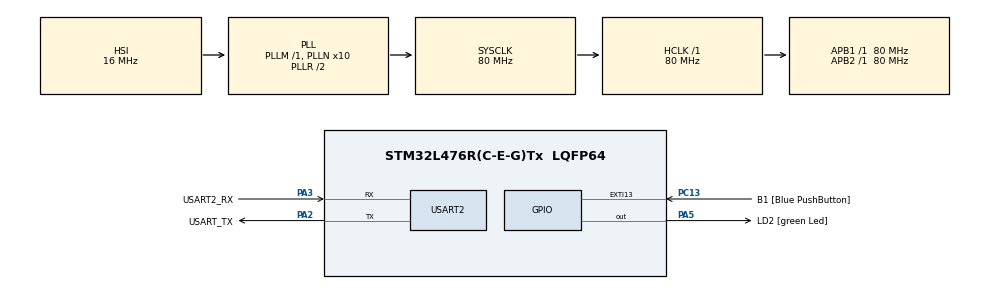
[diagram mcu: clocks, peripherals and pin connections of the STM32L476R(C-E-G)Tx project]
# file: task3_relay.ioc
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Mcu.Family=STM32L4
Mcu.Name=STM32L476R(C-E-G)Tx
Mcu.Package=LQFP64
NVIC.EXTI15_10_IRQn=true\:3\:0\:true\:false\:true\:true\:true
NVIC.PriorityGroup=NVIC_PRIORITYGROUP_4
PA13\ (JTMS-SWDIO).GPIO_Label=TMS
PA13\ (JTMS-SWDIO).Mode=Serial_Wire
PA13\ (JTMS-SWDIO).Signal=SYS_JTMS-SWDIO
PA14\ (JTCK-SWCLK).GPIO_Label=TCK
PA14\ (JTCK-SWCLK).Mode=Serial_Wire
PA14\ (JTCK-SWCLK).Signal=SYS_JTCK-SWCLK
PA2.GPIO_Label=USART_TX
PA2.GPIO_Mode=GPIO_MODE_AF_PP
PA2.GPIO_PuPd=GPIO_NOPULL
PA2.GPIO_Speed=GPIO_SPEED_FREQ_VERY_HIGH
PA2.Mode=Asynchronous
PA2.Signal=USART2_TX
PA3.GPIO_Label=USART2_RX
PA3.GPIO_Mode=GPIO_MODE_AF_PP
PA3.GPIO_PuPd=GPIO_NOPULL
PA3.GPIO_Speed=GPIO_SPEED_FREQ_VERY_HIGH
PA3.Mode=Asynchronous
PA3.Signal=USART2_RX
PA5.GPIO_Label=LD2 [green Led]
PA5.GPIO_ModeDefaultOutputPP=GPIO_MODE_OUTPUT_PP
PA5.GPIO_PuPd=GPIO_NOPULL
PA5.GPIO_Speed=GPIO_SPEED_FREQ_LOW
PA5.Signal=GPIO_Output
PB3\ (JTDO-TRACESWO).GPIO_Label=SWO
PB3\ (JTDO-TRACESWO).Signal=SYS_JTDO-SWO
PC13.GPIO_Label=B1 [Blue PushButton]
PC13.GPIO_ModeDefaultEXTI=GPIO_MODE_IT_FALLING
PC13.GPIO_PuPd=GPIO_NOPULL
PC13.Signal=GPXTI13
PC14-OSC32_IN\ (PC14).Mode=LSE-External-Oscillator
PC14-OSC32_IN\ (PC14).Signal=RCC_OSC32_IN
PC15-OSC32_OUT\ (PC15).Mode=LSE-External-Oscillator
PC15-OSC32_OUT\ (PC15).Signal=RCC_OSC32_OUT
PH0-OSC_IN\ (PH0).Signal=RCC_OSC_IN
PH1-OSC_OUT\ (PH1).Signal=RCC_OSC_OUT
ProjectManager.HeapSize=0x200
ProjectManager.StackSize=0x400
ProjectManager.TargetToolchain=MDK-ARM V5.27
RCC.ADCFreq_Value=64000000
RCC.AHBFreq_Value=80000000
RCC.APB1Freq_Value=80000000
RCC.APB1TimFreq_Value=80000000
RCC.APB2Freq_Value=80000000
RCC.APB2TimFreq_Value=80000000
RCC.CortexFreq_Value=10000000
RCC.Cortex_Div=SYSTICK_CLKSOURCE_HCLK_DIV8
RCC.HCLKFreq_Value=80000000
RCC.HSE_VALUE=8000000
RCC.HSI_VALUE=16000000
RCC.MSI_VALUE=4000000
RCC.PLLN=10
RCC.PLLSourceVirtual=RCC_PLLSOURCE_HSI
RCC.PREFETCH_ENABLE=1
RCC.SYSCLKFreq_VALUE=80000000
RCC.SYSCLKSource=RCC_SYSCLKSOURCE_PLLCLK
RCC.USBFreq_Value=64000000
RCC.VCOOutputFreq_Value=160000000
USART2.VirtualMode-Asynchronous=VM_ASYNC
board=NUCLEO-L476RG

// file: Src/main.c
/* USER CODE BEGIN Header */
/**
  ******************************************************************************
  * @file           : main.c
  * @brief          : Main program body
  ******************************************************************************
  * @attention
  *
  * <h2><center>&copy; Copyright (c) 2020 STMicroelectronics.
  * All rights reserved.</center></h2>
  *
  * This software component is licensed by ST under BSD 3-Clause license,
  * the "License"; You may not use this file except in compliance with the
  * License. You may obtain a copy of the License at:
  *                        opensource.org/licenses/BSD-3-Clause
  *
  ******************************************************************************
  */
/* USER CODE END Header */

#include "main.h"
#include "usart.h"
#include "gpio.h"

/* USER CODE BEGIN Includes */
#include <math.h>
#include <stdbool.h>
#define pi 3.1415926

double brightness = 0.0;
bool pwm_en_flag = false;
uint8_t count = 0;
uint8_t pwm_speed = 25;		//定义pwm信号变化速度
/* USER CODE END Includes */

void SystemClock_Config(void);

int main(void)
{

  /* MCU Configuration--------------------------------------------------------*/

  /* Reset of all peripherals, Initializes the Flash interface and the Systick. */
  HAL_Init();

  /* Configure the system clock */
  SystemClock_Config();

  /* Initialize all configured peripherals */
  MX_GPIO_Init();
  MX_USART2_UART_Init();

  /* Infinite loop */
  while (1)
  {

    /* USER CODE BEGIN 3 */
    if (pwm_en_flag == true)
    {
      count++;
      brightness = sin(pi / 100 * count);
      if (count >= 100)
      {
        count = 0;
      }
      /* pwm signal for led starts... */
      HAL_GPIO_WritePin(LD2_GPIO_Port, LD2_Pin, GPIO_PIN_RESET);
      HAL_Delay(brightness * pwm_speed);
      HAL_GPIO_WritePin(LD2_GPIO_Port, LD2_Pin, GPIO_PIN_SET);
      HAL_Delay(pwm_speed - brightness * pwm_speed);
    }
  }
  /* USER CODE END 3 */
}

void SystemClock_Config(void)
{
  RCC_OscInitTypeDef RCC_OscInitStruct = {0};
  RCC_ClkInitTypeDef RCC_ClkInitStruct = {0};
  RCC_PeriphCLKInitTypeDef PeriphClkInit = {0};

  /** Initializes the CPU, AHB and APB busses clocks
  */
  RCC_OscInitStruct.OscillatorType = RCC_OSCILLATORTYPE_HSI;
  RCC_OscInitStruct.HSIState = RCC_HSI_ON;
  RCC_OscInitStruct.HSICalibrationValue = RCC_HSICALIBRATION_DEFAULT;
  RCC_OscInitStruct.PLL.PLLState = RCC_PLL_ON;
  RCC_OscInitStruct.PLL.PLLSource = RCC_PLLSOURCE_HSI;
  RCC_OscInitStruct.PLL.PLLM = 1;
  RCC_OscInitStruct.PLL.PLLN = 10;
  RCC_OscInitStruct.PLL.PLLP = RCC_PLLP_DIV7;
  RCC_OscInitStruct.PLL.PLLQ = RCC_PLLQ_DIV2;
  RCC_OscInitStruct.PLL.PLLR = RCC_PLLR_DIV2;
  if (HAL_RCC_OscConfig(&RCC_OscInitStruct) != HAL_OK)
  {
    Error_Handler();
  }
  /** Initializes the CPU, AHB and APB busses clocks
  */
  RCC_ClkInitStruct.ClockType = RCC_CLOCKTYPE_HCLK | RCC_CLOCKTYPE_SYSCLK
                                | RCC_CLOCKTYPE_PCLK1 | RCC_CLOCKTYPE_PCLK2;
  RCC_ClkInitStruct.SYSCLKSource = RCC_SYSCLKSOURCE_PLLCLK;
  RCC_ClkInitStruct.AHBCLKDivider = RCC_SYSCLK_DIV1;
  RCC_ClkInitStruct.APB1CLKDivider = RCC_HCLK_DIV1;
  RCC_ClkInitStruct.APB2CLKDivider = RCC_HCLK_DIV1;

  if (HAL_RCC_ClockConfig(&RCC_ClkInitStruct, FLASH_LATENCY_4) != HAL_OK)
  {
    Error_Handler();
  }
  PeriphClkInit.PeriphClockSelection = RCC_PERIPHCLK_USART2;
  PeriphClkInit.Usart2ClockSelection = RCC_USART2CLKSOURCE_PCLK1;
  if (HAL_RCCEx_PeriphCLKConfig(&PeriphClkInit) != HAL_OK)
  {
    Error_Handler();
  }
  /** Configure the main internal regulator output voltage
  */
  if (HAL_PWREx_ControlVoltageScaling(PWR_REGULATOR_VOLTAGE_SCALE1) != HAL_OK)
  {
    Error_Handler();
  }
}

/* USER CODE BEGIN 4 */
void HAL_GPIO_EXTI_Callback(uint16_t GPIO_Pin)
{
  /* Prevent unused argument(s) compilation warning */
  if (GPIO_Pin == B1_Pin)
  {
    HAL_Delay(50);
    if (GPIO_Pin == B1_Pin)
    {
      pwm_en_flag = !pwm_en_flag;
    }
  }
}
/* USER CODE END 4 */

void Error_Handler(void)
{
}

/************************ (C) COPYRIGHT STMicroelectronics *****END OF FILE****/
